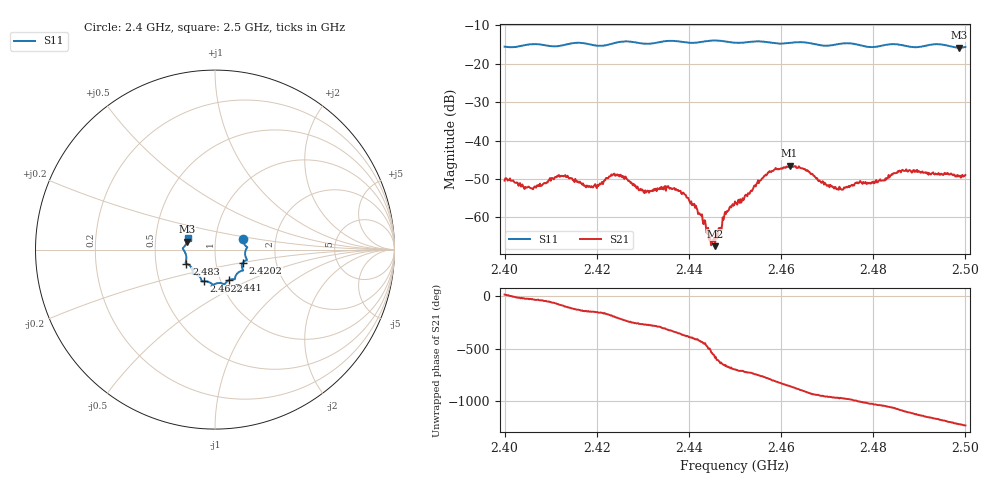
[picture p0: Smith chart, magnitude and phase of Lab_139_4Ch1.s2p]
# Hz S RI R 50
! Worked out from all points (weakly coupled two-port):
!   601 points, 2.4 GHz to 2.5 GHz, reference 50 ohm
!   highest |S21| = -46.56 dB at 2.4618 GHz (marker M1); lowest = -67.5 dB at 2.4457 GHz (marker M2)
!   lowest |S11| = -15.8 dB at 2.4987 GHz (marker M3), VSWR 1.39, Z = 36.4 + j3.3 ohm
!   |S11| at or under -10 dB: start of sweep to end of sweep
!   S12 and S22 are empty: the file has one direction only
!   S11 on the Smith chart (normalised r, x): 2.4 GHz: 1.36, +0.17; 2.4202 GHz: 1.35, -0.20; 2.441 GHz: 1.09, -0.39; 2.4622 GHz: 0.83, -0.30; 2.483 GHz: 0.72, -0.12; 2.5 GHz: 0.73, +0.09
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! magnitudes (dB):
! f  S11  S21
! 2.4 GHz  -15.5  -50.4
! 2.4058 GHz  -14.9  -52.5
! 2.4118 GHz  -15.4  -49.0
! 2.4167 GHz  -14.6  -51.2
! 2.4202 GHz  -15.3  -51.6
! 2.424 GHz  -14.6  -49.2
! 2.4302 GHz  -14.8  -53.4
! 2.4333 GHz  -14.4  -52.6
! 2.4377 GHz  -14.2  -52.9
! 2.441 GHz  -14.6  -56.8
! 2.4448 GHz  -14.0  -67.3
! 2.4457 GHz  -13.9  -67.5
! 2.45 GHz  -14.5  -55.9
! 2.4572 GHz  -14.4  -48.3
! 2.4618 GHz  -14.6  -46.6
! 2.4622 GHz  -14.5  -46.7
! 2.4667 GHz  -14.7  -48.6
! 2.473 GHz  -14.8  -52.6
! 2.483 GHz  -15.0  -49.7
! 2.4833 GHz  -15.0  -49.0
! 2.4987 GHz  -15.8  -49.3
! 2.5 GHz  -15.6  -49.0
